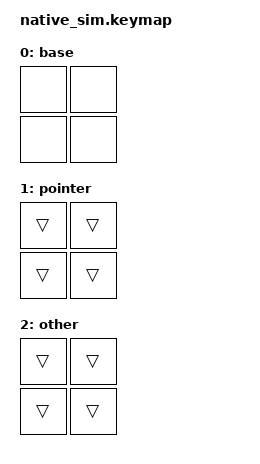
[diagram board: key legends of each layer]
/*
 * Copyright (c) 2026 amgskobo
 * SPDX-License-Identifier: MIT
 *
 * One instance of each processor with its settings stored in flash, for the
 * persistence self-test. The case boots twice against one flash file.
 */

#include <behaviors.dtsi>
#include <physical_layouts.dtsi>
#include <dt-bindings/zmk/keys.h>
#include <dt-bindings/zmk/kscan_mock.h>
#include <dt-bindings/zmk/matrix_transform.h>
#include <zephyr/dt-bindings/input/input-event-codes.h>

/ {
    physical_layout {
        compatible = "zmk,physical-layout";
        display-name = "Test";
        transform = <&transform>;
        keys = <&key_physical_attrs 100 100 0 0 0 0 0>,
               <&key_physical_attrs 100 100 100 0 0 0 0>,
               <&key_physical_attrs 100 100 0 100 0 0 0>,
               <&key_physical_attrs 100 100 100 100 0 0 0>;
    };

    transform: transform {
        compatible = "zmk,matrix-transform";
        rows = <2>;
        columns = <2>;
        map = <RC(0,0) RC(0,1) RC(1,0) RC(1,1)>;
    };

    keymap {
        compatible = "zmk,keymap";

        base {
            bindings = <&none &none &none &none>;
        };

        pointer {
            bindings = <&trans &trans &trans &trans>;
        };

        other {
            bindings = <&trans &trans &trans &trans>;
        };
    };

    rt_scale: rt_scale {
        compatible = "zmk,input-processor-runtime-scaler";
        #input-processor-cells = <0>;
        codes = <INPUT_REL_X INPUT_REL_Y>;
        multiplier = <889>;
        divisor = <500>;
    };

    rt_xform: rt_xform {
        compatible = "zmk,input-processor-runtime-transform";
        #input-processor-cells = <0>;
        x-codes = <INPUT_REL_X>;
        y-codes = <INPUT_REL_Y>;
    };

    rt_map: rt_map {
        compatible = "zmk,input-processor-runtime-code-mapper";
        #input-processor-cells = <0>;
        map = <INPUT_REL_Y INPUT_REL_WHEEL>;
        start-disabled;
    };

    rt_layer: rt_layer {
        compatible = "zmk,input-processor-runtime-temp-layer";
        #input-processor-cells = <0>;
        layer = <1>;
        timeout-ms = <200>;
        require-prior-idle-ms = <30>;
    };
};

/* Nothing is scanned. The one event ends the process if a boot ever hangs. */
&kscan {
    events = <ZMK_MOCK_PRESS(1,1,30000) ZMK_MOCK_RELEASE(1,1,10)>;
};
